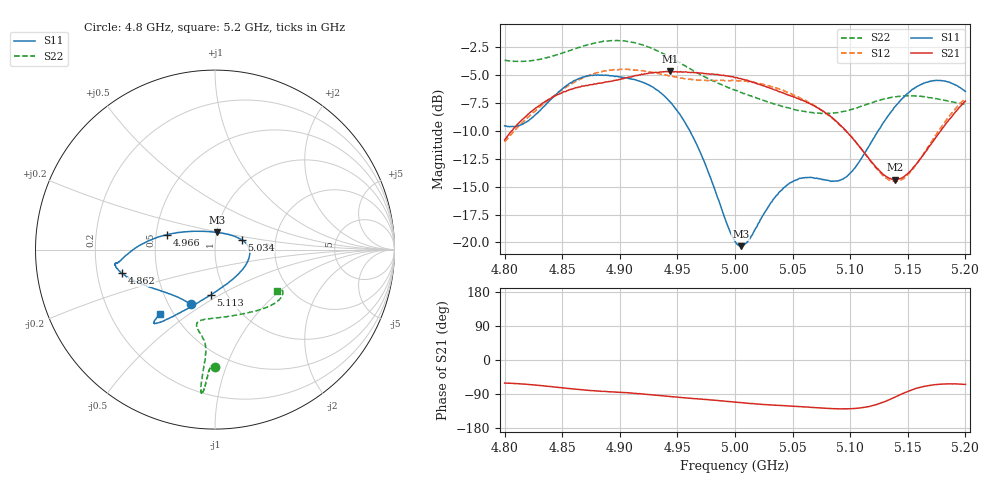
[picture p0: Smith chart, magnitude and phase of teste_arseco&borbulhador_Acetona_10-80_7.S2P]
! Network Analyzer HP8722D
! Hewlett-Packard
! Data name: Linha & Wilkinson
! Saver's name: Rodrigo Anjos
! Comments: Teste da utilização de aquisição
! continua pelo VNA HP8722D
! Time and date: 17/4/2025 14:25
!  Frequency  S11  S21  S12  S22
# HZ  S  MA R 50
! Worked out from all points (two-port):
!   401 points, 4.8 GHz to 5.2 GHz, reference 50 ohm
!   highest |S21| = -4.67 dB at 4.944 GHz (marker M1); lowest = -14.4 dB at 5.139 GHz (marker M2)
!   |S21| within 3 dB of the highest: 4.831 GHz to 5.067 GHz (236 MHz wide, 4.77 % of centre); 5.196859 GHz to end of sweep
!   lowest |S11| = -20.3 dB at 5.005 GHz (marker M3), VSWR 1.21, Z = 50.1 + j9.68 ohm
!   |S11| at or under -10 dB: 4.961 GHz to 5.124 GHz (163.3 MHz wide, 3.24 % of centre)
!   |S22| runs from -8.5 to -1.9 dB; largest |S21 - S12| = 0.87
!   S11 on the Smith chart (normalised r, x): 4.8 GHz: 0.65, -0.44; 4.862 GHz: 0.31, -0.11; 4.966 GHz: 0.57, +0.10; 5.034 GHz: 1.34, +0.15; 5.113 GHz: 0.84, -0.45; 5.2 GHz: 0.42, -0.39
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4.8e9  0.3335 -113.5  0.2879 -60.9  0.2821 -175.0  0.6555 -90.0
4.819e9  0.3473 -133.4  0.3693 -64.1  0.3583 -173.6  0.6499 -91.6
4.862e9  0.5349 -165.7  0.494 -77.2  0.5273 -176.9  0.7412 -93.9
4.867e9  0.5488 -167.7  0.5029 -78.6  0.543 -177.9  0.7548 -94.1
4.902e9  0.549 -172.4  0.5414 -85.6  0.5972 174.9  0.8017 -95.6
4.934e9  0.4757 -178.2  0.5786 -93.6  0.5717 171.7  0.7163 -95.8
4.944e9  0.4252 177.2  0.5841 -96.5  0.5566 171.8  0.6743 -95.6
4.966e9  0.2797 162.8  0.5765 -102.1  0.5351 173.6  0.5805 -95.0
5e9  0.1013 101.6  0.5479 -111.3  0.5322 176.0  0.481 -99.3
5.005e9  0.09624 83.8  0.5423 -112.6  0.5297 176.0  0.4705 -100.4
5.013e9  0.1041 58.1  0.528 -114.5  0.5237 175.8  0.4548 -102.1
5.034e9  0.1578 20.7  0.4836 -119.2  0.4966 174.9  0.4181 -103.6
5.05e9  0.1872 4.4  0.4524 -121.9  0.4598 174.0  0.3973 -99.6
5.067e9  0.1952 -13.8  0.414 -124.9  0.4173 173.5  0.3823 -90.9
5.093e9  0.192 -58.0  0.3293 -128.9  0.3288 173.9  0.3854 -70.7
5.113e9  0.2535 -95.3  0.2495 -124.6  0.2491 179.8  0.4136 -55.0
5.134e9  0.3758 -116.5  0.1939 -104.6  0.1901 -157.6  0.4452 -43.1
5.139e9  0.4068 -119.4  0.1911 -97.6  0.1879 -149.7  0.4499 -40.9
5.152e9  0.4752 -124.9  0.2084 -80.4  0.2059 -129.6  0.4543 -36.1
5.17e9  0.5284 -128.9  0.2751 -66.3  0.2802 -112.7  0.4455 -32.0
5.184e9  0.5257 -130.2  0.3457 -63.2  0.357 -107.3  0.4317 -31.0
5.2e9  0.4748 -130.5  0.4297 -64.4  0.4422 -106.5  0.4151 -33.3
